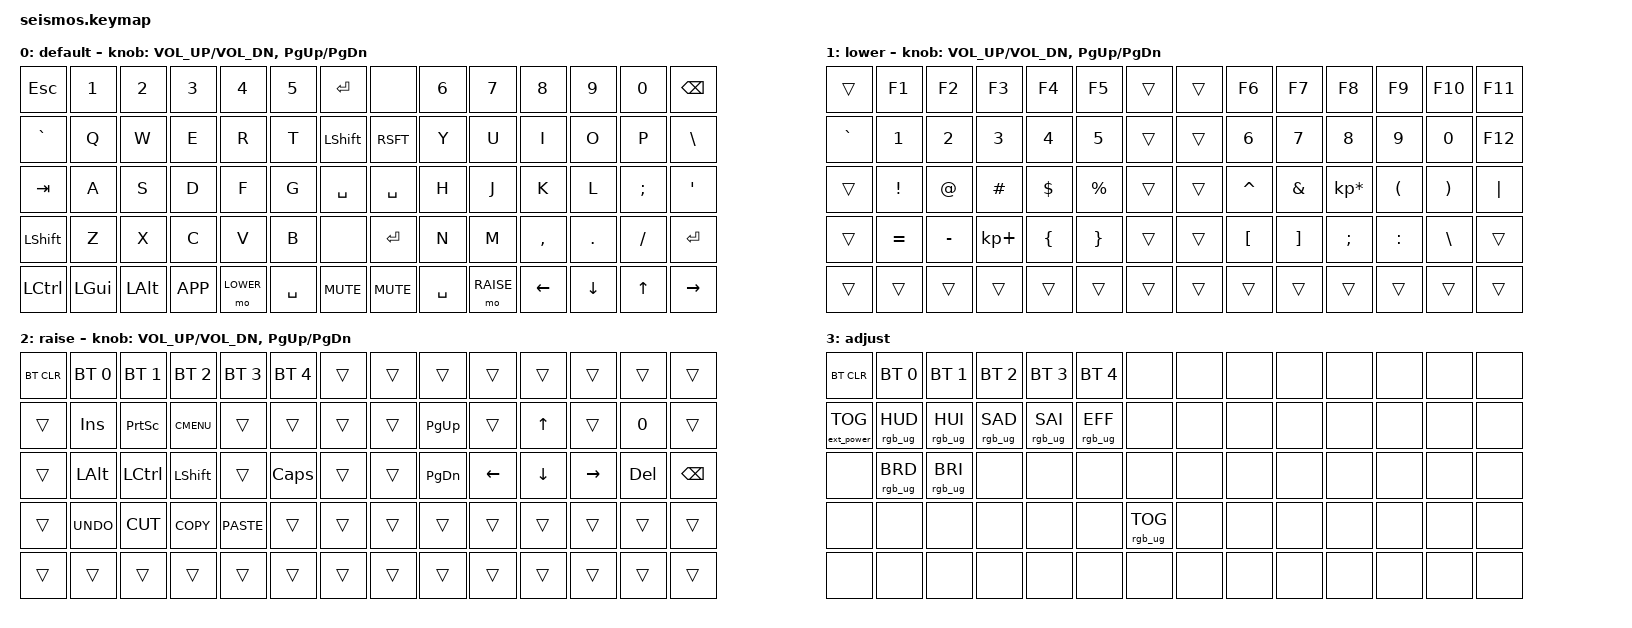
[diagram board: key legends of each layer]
/*
 * Copyright (c) 2020 The ZMK Contributors
 *
 * SPDX-License-Identifier: MIT
 */

#include <behaviors.dtsi>
#include <dt-bindings/zmk/keys.h>
#include <dt-bindings/zmk/bt.h>
#include <dt-bindings/zmk/rgb.h>
#include <dt-bindings/zmk/ext_power.h>

#define BASE 0
#define LOWER 1
#define RAISE 2
#define ADJUST 3

&nice_view_spi {
    cs-gpios = <&pro_micro 0 GPIO_ACTIVE_HIGH>;
};

/ {

   // Activate ADJUST layer by pressing raise and lower
    conditional_layers {
        compatible = "zmk,conditional-layers";
        adjust_layer {
            if-layers = <LOWER RAISE>;
            then-layer = <ADJUST>;
        };
    };

    keymap {
        compatible = "zmk,keymap";

        default_layer {
            label = "default";
// ------------------------------------------------------------------------------------------------------------
// |   `   |  1  |  2  |  3   |  4   |  5   | ENTER  |  |        |  6   |  7    |  8    |  9   |   0   |       |
// |  ESC  |  Q  |  W  |  E   |  R   |  T   | SHIFT  |  |  SHIFT |  Y   |  U    |  I    |  O   |   P   | BKSPC |
// |  TAB  |  A  |  S  |  D   |  F   |  G   | SPACE  |  |  SPACE |  H   |  J    |  K    |  L   |   ;   |   '   |
// | SHIFT |  Z  |  X  |  C   |  V   |  B   |        |  |  ENTER |  N   |  M    |  ,    |  .   |   /   |       |
// | CTRL  | GUI | ALT | LOWER|      |      |  MUTE  |  |  MUTE  | RAISE| CTRL  | ALT   | GUI  |       |       |
            bindings = <
&kp ESC    &kp N1    &kp N2    &kp N3     &kp N4     &kp N5     &kp RET       &none       &kp N6     &kp N7     &kp N8     &kp N9    &kp N0    &kp BSPC
&kp GRAVE  &kp Q     &kp W     &kp E      &kp R      &kp T      &kp LSHFT     &kp RSFT    &kp Y      &kp U      &kp I      &kp O     &kp P     &kp BSLH
&kp TAB    &kp A     &kp S     &kp D      &kp F      &kp G      &kp SPACE     &kp SPACE   &kp H      &kp J      &kp K      &kp L     &kp SEMI  &kp SQT
&kp LSHFT  &kp Z     &kp X     &kp C      &kp V      &kp B      &none         &kp RET     &kp N      &kp M      &kp COMMA  &kp DOT   &kp FSLH  &kp ENTER
&kp LCTRL  &kp LGUI  &kp LALT  &kp K_APP  &mo LOWER  &kp SPACE  &kp C_MUTE    &kp C_MUTE  &kp SPACE  &mo RAISE  &kp LEFT   &kp DOWN  &kp UP    &kp RIGHT
            >;

            sensor-bindings = <&inc_dec_kp C_VOL_UP C_VOL_DN &inc_dec_kp PG_UP PG_DN>;
        };

        lower_layer {
            label = "lower";
// TODO: Some binds are waiting for shifted keycode support.
// ------------------------------------------------------------------------------------------------------------
// |       |  F1 |  F2 |  F3  |  F4  |  F5  |                   |  F6  |  F7   |  F8   |  F9  |  F10  |  F11  |
// |   `   |  1  |  2  |  3   |  4   |  5   |                   |  6   |  7    |  8    |  9   |   0   |  F12  |
// |       |  !  |  @  |  #   |  $   |  %   |                   |  ^   |  &    |  *    |  (   |   )   |   |   |
// |       |  =  |  -  |  +   |  {   |  }   |        |  |       |  [   |  ]    |  ;    |  :   |   \   |       |
//               |     |      |      |      |        |  |       |      |       |       |      |
            bindings = <
&trans    &kp F1    &kp F2    &kp F3      &kp F4    &kp F5     &trans      &trans  &kp F6    &kp F7   &kp F8          &kp F9    &kp F10   &kp F11
&kp GRAVE &kp N1    &kp N2    &kp N3      &kp N4    &kp N5     &trans      &trans  &kp N6    &kp N7   &kp N8          &kp N9    &kp N0    &kp F12
&trans    &kp EXCL  &kp AT    &kp HASH    &kp DLLR  &kp PRCNT  &trans      &trans  &kp CARET &kp AMPS &kp KP_MULTIPLY &kp LPAR  &kp RPAR  &kp PIPE
&trans    &kp EQUAL &kp MINUS &kp KP_PLUS &kp LBRC  &kp RBRC   &trans      &trans  &kp LBKT  &kp RBKT &kp SEMI        &kp COLON &kp BSLH  &trans
&trans    &trans    &trans    &trans      &trans    &trans     &trans      &trans  &trans    &trans   &trans          &trans    &trans    &trans
            >;

            sensor-bindings = <&inc_dec_kp C_VOL_UP C_VOL_DN &inc_dec_kp PG_UP PG_DN>;
        };

        raise_layer {
            label = "raise";
// ------------------------------------------------------------------------------------------------------------
// | BTCLR | BT1  | BT2  |  BT3  |  BT4  |  BT5 |                |      |      |       |      |       |       |
// |       | INS  | PSCR | GUI   |       |      |                | PGUP |      |   ^   |      |       |       |
// |       | ALT  | CTRL | SHIFT |       | CAPS |                | PGDN |   <- |   v   |  ->  |  DEL  | BKSPC |
// |       | UNDO | CUT  | COPY  | PASTE |      |      |  |      |      |      |       |      |       |       |
//                |      |       |       |      |      |  |      |      |      |       |      |
            bindings = <
&bt BT_CLR &bt BT_SEL 0 &bt BT_SEL 1 &bt BT_SEL 2 &bt BT_SEL 3 &bt BT_SEL 4  &trans  &trans  &trans    &trans    &trans   &trans    &trans  &trans
&trans     &kp INS      &kp PSCRN    &kp K_CMENU  &trans       &trans        &trans  &trans  &kp PG_UP &trans    &kp UP   &trans    &kp N0  &trans
&trans     &kp LALT     &kp LCTRL    &kp LSHFT    &trans       &kp CLCK      &trans  &trans  &kp PG_DN &kp LEFT  &kp DOWN &kp RIGHT &kp DEL &kp BSPC
&trans     &kp K_UNDO   &kp K_CUT    &kp K_COPY   &kp K_PASTE  &trans        &trans  &trans  &trans    &trans    &trans   &trans    &trans  &trans
&trans     &trans       &trans       &trans       &trans       &trans        &trans  &trans  &trans    &trans    &trans   &trans    &trans  &trans
            >;

            sensor-bindings = <&inc_dec_kp C_VOL_UP C_VOL_DN &inc_dec_kp PG_UP PG_DN>;
        };

        adjust_layer {
// ----------------------------------------------------------------------------------------------------------------------------
// | BTCLR  |  BT1    |  BT2    |   BT3   |   BT4   |   BT5   |                  |      |      |       |      |       |       |
// | EXTPWR | RGB_HUD | RGB_HUI | RGB_SAD | RGB_SAI | RGB_EFF |                  |      |      |       |      |       |       |
// |        | RGB_BRD | RGB_BRI |         |         |         |                  |      |      |       |      |       |       |
// |        |         |         |         |         |         | RGB_TOG | |      |      |      |       |      |       |       |
//                    |         |         |         |         |         | |      |      |      |       |      |
            label = "adjust";
            bindings = <
&bt BT_CLR        &bt BT_SEL 0    &bt BT_SEL 1    &bt BT_SEL 2    &bt BT_SEL 3    &bt BT_SEL 4     &none           &none  &none &none &none &none &none &none
&ext_power EP_TOG &rgb_ug RGB_HUD &rgb_ug RGB_HUI &rgb_ug RGB_SAD &rgb_ug RGB_SAI &rgb_ug RGB_EFF  &none           &none  &none &none &none &none &none &none
&none             &rgb_ug RGB_BRD &rgb_ug RGB_BRI &none           &none           &none            &none           &none  &none &none &none &none &none &none
&none             &none           &none           &none           &none           &none            &rgb_ug RGB_TOG &none  &none &none &none &none &none &none
&none             &none           &none           &none           &none           &none            &none           &none  &none &none &none &none &none &none
            >;
        };

    };
};
